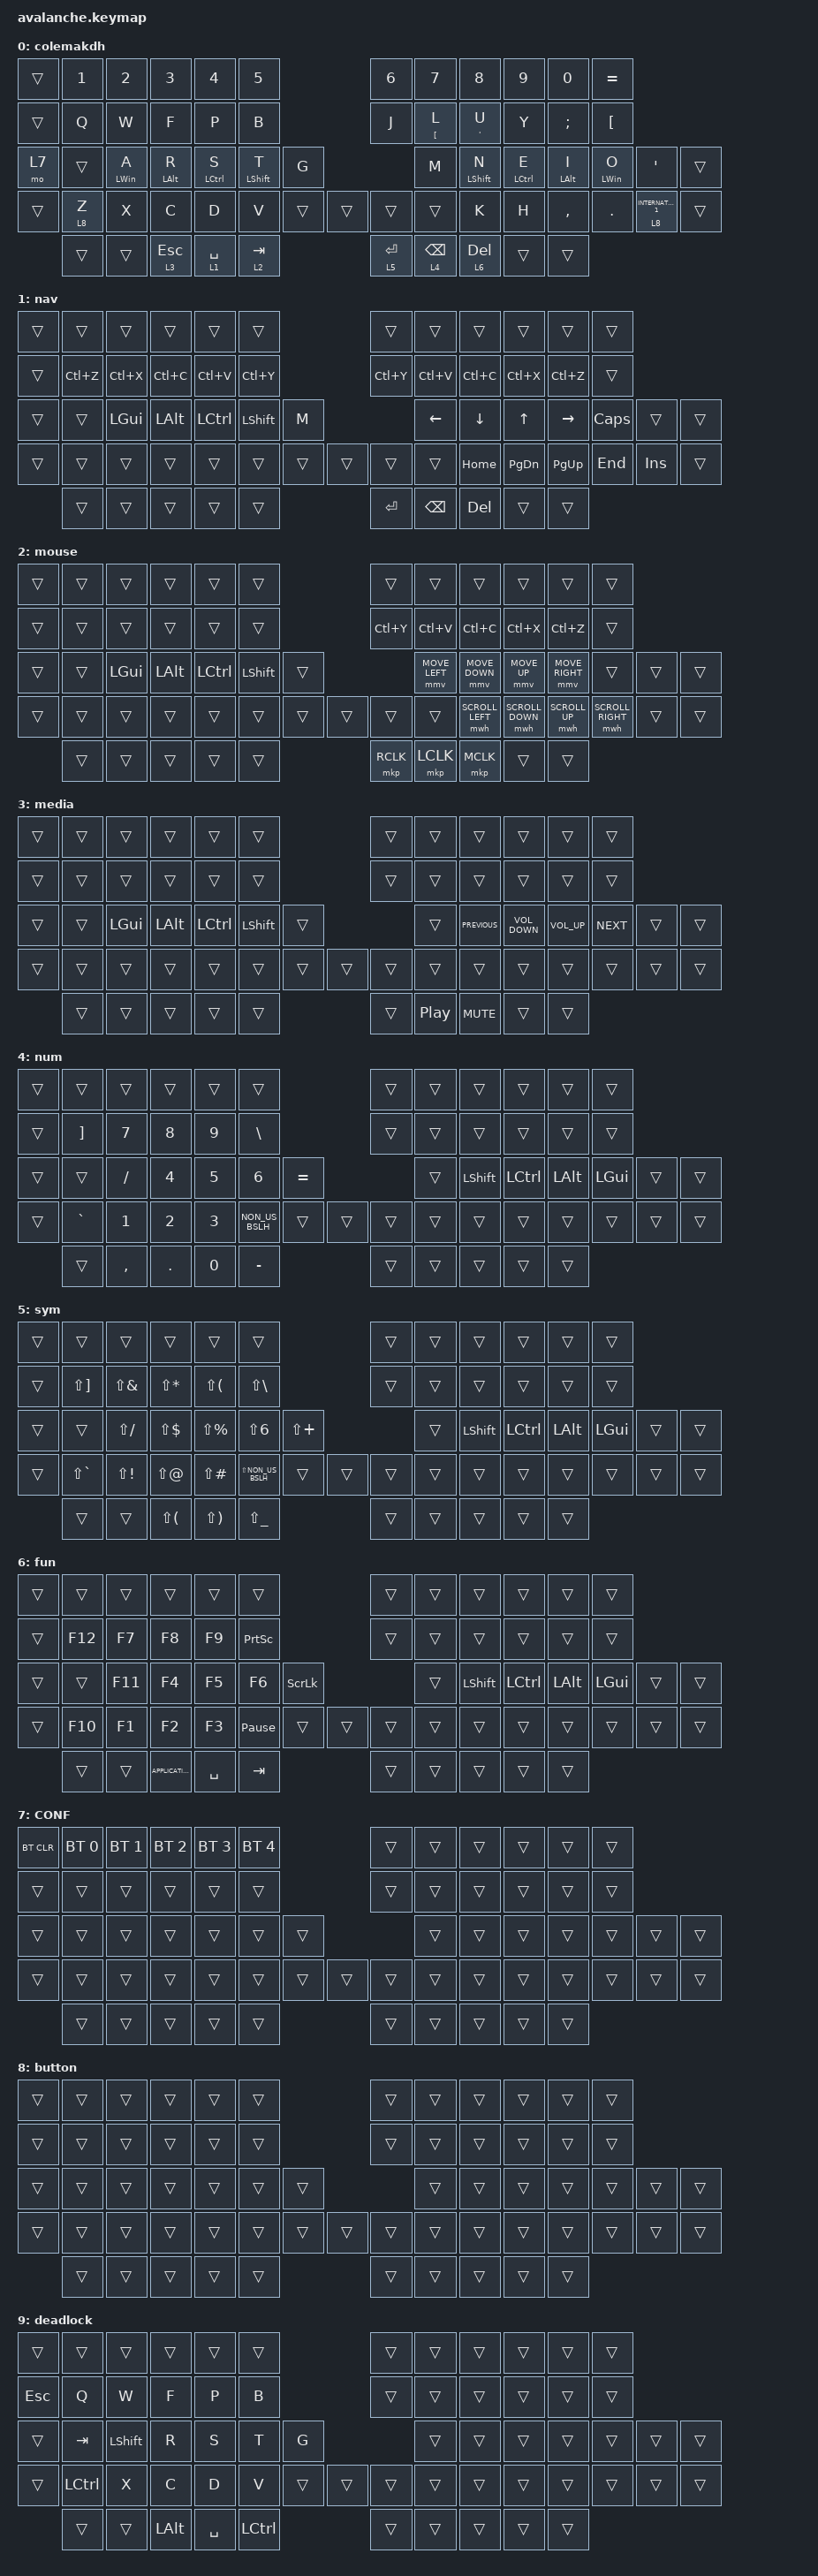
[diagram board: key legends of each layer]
#include "keys_pt_br.h"
#include <dt-bindings/zmk/mouse.h>
#include <behaviors.dtsi>
#include <dt-bindings/zmk/bt.h>
#include <dt-bindings/zmk/keys.h>

/ {
    behaviors {
        bhm: balanced_homerow_mods {
            compatible = "zmk,behavior-hold-tap";
            label = "HOMEROW_MODS";
            #binding-cells = <2>;
            tapping-term-ms = <200>;

            // <---[[moderate duration]]

            quick-tap-ms = <0>;
            flavor = "balanced";
            bindings = <&kp>, <&kp>;
        };

        hm: homerow_mods {
            compatible = "zmk,behavior-hold-tap";
            label = "HOMEROW_MODS";
            #binding-cells = <2>;
            tapping-term-ms = <250>;
            flavor = "tap-preferred";
            bindings = <&kp>, <&kp>;
        };
    };

    combos {
        compatible = "zmk,combos";

        deadlock {
            bindings = <&tog 9>;
            key-positions = <13 22>;
        };
    };

    keymap {
        compatible = "zmk,keymap";

        /*
        &trans  &trans  &trans  &trans  &trans  &trans                                   &trans  &trans  &trans  &trans  &trans  &trans 
// ------------------------------------------------------------------------------------------------------------------------------------------------------------------------------------
        &trans  &trans  &trans  &trans  &trans  &trans                                   &trans  &trans  &trans  &trans  &trans  &trans 
// ------------------------------------------------------------------------------------------------------------------------------------------------------------------------------------
&trans  &trans  &trans  &trans  &trans  &trans  &trans                                   &trans  &trans  &trans  &trans  &trans  &trans  &trans 
// ------------------------------------------------------------------------------------------------------------------------------------------------------------------------------------
        &trans  &trans  &trans  &trans  &trans  &trans  &trans  &trans    &trans &trans  &trans  &trans  &trans  &trans  &trans  &trans 
// ------------------------------------------------------------------------------------------------------------------------------------------------------------------------------------
                                &trans  &trans  &trans  &trans  &trans    &trans &trans  &trans  &trans  &trans
*/

        colemakdh {
            bindings = <
&trans  &kp N1   &kp N2           &kp N3           &kp N4        &kp N5                             &kp N6       &kp N7               &kp N8               &kp N9        &kp N0           &kp EQUAL
&trans  &kp Q    &kp W            &kp F            &kp P         &kp B                              &kp J        &bhm LEFT_BRACKET L  &bhm SINGLE_QUOTE U  &kp Y         &kp SEMI         &kp LEFT_BRACKET
&mo 7   &trans   &bhm LEFT_WIN A  &bhm LEFT_ALT R  &bhm LCTRL S  &bhm LEFT_SHIFT T  &kp G                        &kp M                &bhm LEFT_SHIFT N    &bhm LCTRL E  &bhm LEFT_ALT I  &bhm LEFT_WIN O   &kp SINGLE_QUOTE       &trans
&trans  &lt 8 Z  &kp X            &kp C            &kp D         &kp V              &trans  &trans  &trans       &trans               &kp K                &kp H         &kp COMMA        &kp DOT           &lt 8 INTERNATIONAL_1  &trans
        &trans   &trans           &lt 3 ESCAPE     &lt 1 SPACE   &lt 2 TAB                          &lt 5 ENTER  &lt 4 BACKSPACE      &lt 6 DELETE         &trans        &trans
            >;
        };

        nav {
            bindings = <
&trans  &trans     &trans     &trans        &trans     &trans                          &trans     &trans         &trans      &trans     &trans     &trans
&trans  &kp LC(Z)  &kp LC(X)  &kp LC(C)     &kp LC(V)  &kp LC(Y)                       &kp LC(Y)  &kp LC(V)      &kp LC(C)   &kp LC(X)  &kp LC(Z)  &trans
&trans  &trans     &kp LGUI   &kp LEFT_ALT  &kp LCTRL  &kp LEFT_SHIFT  &kp M                      &kp LEFT       &kp DOWN    &kp UP     &kp RIGHT  &kp CAPSLOCK  &trans   &trans
&trans  &trans     &trans     &trans        &trans     &trans          &trans  &trans  &trans     &trans         &kp HOME    &kp PG_DN  &kp PG_UP  &kp END       &kp INS  &trans
        &trans     &trans     &trans        &trans     &trans                          &kp ENTER  &kp BACKSPACE  &kp DELETE  &trans     &trans
            >;
        };

        mouse {
            bindings = <
&trans  &trans  &trans    &trans    &trans     &trans                     &trans     &trans          &trans            &trans            &trans           &trans
&trans  &trans  &trans    &trans    &trans     &trans                     &kp LC(Y)  &kp LC(V)       &kp LC(C)         &kp LC(X)         &kp LC(Z)        &trans
&trans  &trans  &kp LGUI  &kp LALT  &kp LCTRL  &kp LSHFT  &trans                     &mmv MOVE_LEFT  &mmv MOVE_DOWN    &mmv MOVE_UP      &mmv MOVE_RIGHT  &trans             &trans  &trans
&trans  &trans  &trans    &trans    &trans     &trans     &trans  &trans  &trans     &trans          &mwh SCROLL_LEFT  &mwh SCROLL_DOWN  &mwh SCROLL_UP   &mwh SCROLL_RIGHT  &trans  &trans
        &trans  &trans    &trans    &trans     &trans                     &mkp RCLK  &mkp LCLK       &mkp MCLK         &trans            &trans
            >;
        };

        media {
            bindings = <
&trans  &trans  &trans    &trans    &trans     &trans                     &trans  &trans            &trans          &trans             &trans           &trans
&trans  &trans  &trans    &trans    &trans     &trans                     &trans  &trans            &trans          &trans             &trans           &trans
&trans  &trans  &kp LGUI  &kp LALT  &kp LCTRL  &kp LSHFT  &trans                  &trans            &kp C_PREVIOUS  &kp C_VOLUME_DOWN  &kp C_VOLUME_UP  &kp C_NEXT  &trans  &trans
&trans  &trans  &trans    &trans    &trans     &trans     &trans  &trans  &trans  &trans            &trans          &trans             &trans           &trans      &trans  &trans
        &trans  &trans    &trans    &trans     &trans                     &trans  &kp C_PLAY_PAUSE  &kp C_MUTE      &trans             &trans
            >;
        };

        num {
            bindings = <
&trans  &trans             &trans     &trans   &trans  &trans                              &trans  &trans  &trans     &trans     &trans    &trans
&trans  &kp RIGHT_BRACKET  &kp N7     &kp N8   &kp N9  &kp BACKSLASH                       &trans  &trans  &trans     &trans     &trans    &trans
&trans  &trans             &kp SLASH  &kp N4   &kp N5  &kp N6           &kp EQUAL                  &trans  &kp LSHFT  &kp LCTRL  &kp LALT  &kp LGUI  &trans  &trans
&trans  &kp GRAVE          &kp N1     &kp N2   &kp N3  &kp NON_US_BSLH  &trans     &trans  &trans  &trans  &trans     &trans     &trans    &trans    &trans  &trans
        &trans             &kp COMMA  &kp DOT  &kp N0  &kp MINUS                           &trans  &trans  &trans     &trans     &trans
            >;
        };

        sym {
            bindings = <
&trans  &trans                 &trans         &trans        &trans         &trans                                     &trans  &trans  &trans     &trans     &trans    &trans
&trans  &kp LS(RIGHT_BRACKET)  &kp LS(AMPS)   &kp LS(STAR)  &kp LS(LPAR)   &kp LS(BACKSLASH)                          &trans  &trans  &trans     &trans     &trans    &trans
&trans  &trans                 &kp LS(SLASH)  &kp LS(DLLR)  &kp LS(PRCNT)  &kp LS(NUMBER_6)     &kp LS(PLUS)                  &trans  &kp LSHFT  &kp LCTRL  &kp LALT  &kp LGUI  &trans  &trans
&trans  &kp LS(GRAVE)          &kp LS(EXCL)   &kp LS(AT)    &kp LS(POUND)  &kp LS(NON_US_BSLH)  &trans        &trans  &trans  &trans  &trans     &trans     &trans    &trans    &trans  &trans
        &trans                 &trans         &kp LS(LPAR)  &kp LS(RPAR)   &kp LS(UNDER)                              &trans  &trans  &trans     &trans     &trans
            >;
        };

        fun {
            bindings = <
&trans  &trans   &trans   &trans             &trans     &trans                                   &trans  &trans  &trans     &trans     &trans    &trans
&trans  &kp F12  &kp F7   &kp F8             &kp F9     &kp PRINTSCREEN                          &trans  &trans  &trans     &trans     &trans    &trans
&trans  &trans   &kp F11  &kp F4             &kp F5     &kp F6           &kp SCROLLLOCK                  &trans  &kp LSHFT  &kp LCTRL  &kp LALT  &kp LGUI  &trans  &trans
&trans  &kp F10  &kp F1   &kp F2             &kp F3     &kp PAUSE_BREAK  &trans          &trans  &trans  &trans  &trans     &trans     &trans    &trans    &trans  &trans
        &trans   &trans   &kp K_APPLICATION  &kp SPACE  &kp TAB                                  &trans  &trans  &trans     &trans     &trans
            >;
        };

        CONF {
            bindings = <
&bt BT_CLR  &bt BT_SEL 0  &bt BT_SEL 1  &bt BT_SEL 2  &bt BT_SEL 3  &bt BT_SEL 4                  &trans  &trans  &trans  &trans  &trans  &trans
&trans      &trans        &trans        &trans        &trans        &trans                        &trans  &trans  &trans  &trans  &trans  &trans
&trans      &trans        &trans        &trans        &trans        &trans        &trans                  &trans  &trans  &trans  &trans  &trans  &trans  &trans
&trans      &trans        &trans        &trans        &trans        &trans        &trans  &trans  &trans  &trans  &trans  &trans  &trans  &trans  &trans  &trans
            &trans        &trans        &trans        &trans        &trans                        &trans  &trans  &trans  &trans  &trans
            >;
        };

        button {
            bindings = <
&trans  &trans  &trans  &trans  &trans  &trans                  &trans  &trans  &trans  &trans  &trans  &trans
&trans  &trans  &trans  &trans  &trans  &trans                  &trans  &trans  &trans  &trans  &trans  &trans
&trans  &trans  &trans  &trans  &trans  &trans  &trans                  &trans  &trans  &trans  &trans  &trans  &trans  &trans
&trans  &trans  &trans  &trans  &trans  &trans  &trans  &trans  &trans  &trans  &trans  &trans  &trans  &trans  &trans  &trans
        &trans  &trans  &trans  &trans  &trans                  &trans  &trans  &trans  &trans  &trans
            >;
        };

        deadlock {
            bindings = <
&trans      &trans     &trans          &trans        &trans     &trans                     &trans  &trans  &trans  &trans  &trans  &trans
&kp ESCAPE  &kp Q      &kp W           &kp F         &kp P      &kp B                      &trans  &trans  &trans  &trans  &trans  &trans
&trans      &kp TAB    &kp LEFT_SHIFT  &kp R         &kp S      &kp T      &kp G                   &trans  &trans  &trans  &trans  &trans  &trans  &trans
&trans      &kp LCTRL  &kp X           &kp C         &kp D      &kp V      &trans  &trans  &trans  &trans  &trans  &trans  &trans  &trans  &trans  &trans
            &trans     &trans          &kp LEFT_ALT  &kp SPACE  &kp LCTRL                  &trans  &trans  &trans  &trans  &trans
            >;
        };
    };
};
